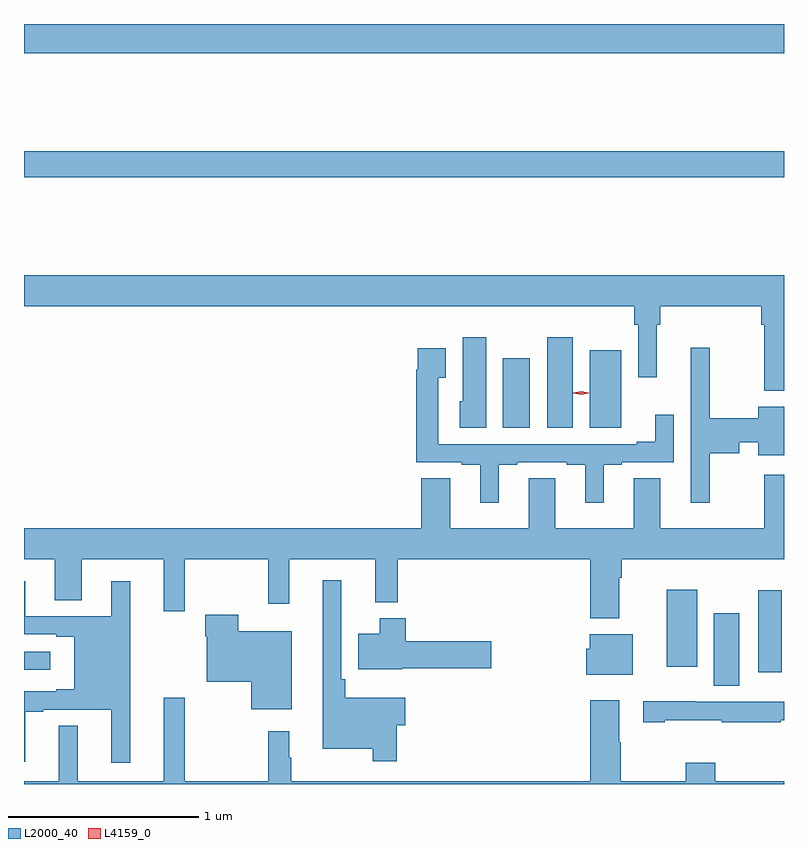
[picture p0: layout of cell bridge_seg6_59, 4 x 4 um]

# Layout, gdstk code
import gdstk
lib = gdstk.Library(unit=1e-6, precision=1e-09)
def R(c, l, rs):  # rectangles x0, y0, x1, y1
    for r in rs: c.add(gdstk.rectangle(r[:2], r[2:], *l))
def P(c, l, *ps):  # polygons
    for p in ps: c.add(gdstk.Polygon(p, *l))
L2000_40 = (2000, 40)
L4159_0 = (4159, 0)

bridge_seg6_59 = lib.new_cell('bridge_seg6_59')
R(bridge_seg6_59, L2000_40, [(867.536,986.632,867.67,987.013), (867.77,986.703,867.892,987.133), (863.905,986.715,864.043,986.811), (867.287,986.73,867.448,987.136), (866.426,987.988,866.566,988.354), (866.66,987.988,866.794,988.465), (866.882,987.988,867.049,988.396), (863.905,989.308,867.905,989.444), (863.905,989.96,867.905,990.114)])
P(bridge_seg6_59, L2000_40, [(867.905,988.792),(863.905,988.792),(863.905,988.628),(867.118,988.628),(867.118,988.532),(867.138,988.532),(867.138,988.254),(867.236,988.254),(867.236,988.532),(867.254,988.532),(867.254,988.628),(867.786,988.628),(867.786,988.532),(867.801,988.532),(867.801,988.184),(867.905,988.184)],
  [(866.338,988.465),(866.213,988.465),(866.213,988.128),(866.198,988.128),(866.198,987.988),(866.338,987.988)],
  [(867.515,987.854),(867.67,987.854),(867.67,987.912),(867.77,987.912),(867.77,987.845),(867.905,987.845),(867.905,988.099),(867.77,988.099),(867.77,988.04),(867.515,988.04),(867.515,988.411),(867.413,988.411),(867.413,988.117),(867.414,988.117),(867.414,987.594),(867.515,987.594)],
  [(866.404,987.795),(866.5,987.795),(866.5,987.807),(866.762,987.807),(866.762,987.795),(866.858,987.795),(866.858,987.594),(866.956,987.594),(866.956,987.795),(867.052,987.795),(867.052,987.807),(867.324,987.807),(867.324,988.057),(867.227,988.057),(867.227,987.916),(867.131,987.916),(867.131,987.903),(866.085,987.903),(866.085,988.252),(866.125,988.252),(866.125,988.408),(865.977,988.408),(865.977,988.295),(865.969,988.295),(865.969,987.807),(866.21,987.807),(866.21,987.795),(866.306,987.795),(866.306,987.594),(866.404,987.594)],
  [(867.037,987.2),(867.05,987.2),(867.05,987.296),(867.905,987.296),(867.905,987.742),(867.801,987.742),(867.801,987.46),(867.253,987.46),(867.253,987.722),(867.113,987.722),(867.113,987.46),(866.701,987.46),(866.701,987.722),(866.561,987.722),(866.561,987.46),(866.149,987.46),(866.149,987.722),(865.997,987.722),(865.997,987.46),(863.905,987.46),(863.905,987.296),(864.068,987.296),(864.068,987.082),(864.208,987.082),(864.208,987.296),(864.641,987.296),(864.641,987.024),(864.751,987.024),(864.751,987.296),(865.191,987.296),(865.191,987.063),(865.301,987.063),(865.301,987.296),(865.754,987.296),(865.754,987.071),(865.871,987.071),(865.871,987.296),(866.885,987.296),(866.885,986.987),(867.037,986.987)],
  [(865.868,986.422),(865.912,986.422),(865.912,986.569),(865.595,986.569),(865.595,986.665),(865.575,986.665),(865.575,987.187),(865.478,987.187),(865.478,986.3),(865.74,986.3),(865.74,986.235),(865.868,986.235)],
  [(864.464,986.608),(864.463,986.608),(864.463,986.894),(864.464,986.894),(864.464,987.181),(864.365,987.181),(864.365,986.997),(863.911,986.997),(863.911,987.181),(863.905,987.181),(863.905,986.901),(864.074,986.901),(864.074,986.889),(864.17,986.889),(864.17,986.614),(864.074,986.614),(864.074,986.601),(863.905,986.601),(863.905,986.232),(863.912,986.232),(863.912,986.493),(864.007,986.493),(864.007,986.505),(864.365,986.505),(864.365,986.226),(864.464,986.226)],
  [(865.315,986.917),(865.032,986.917),(865.032,987.004),(864.859,987.004),(864.859,986.891),(864.866,986.891),(864.866,986.651),(865.1,986.651),(865.1,986.507),(865.315,986.507)],
  [(865.896,986.723),(866.365,986.723),(866.365,986.865),(865.913,986.865),(865.913,986.986),(865.778,986.986),(865.778,986.905),(865.664,986.905),(865.664,986.717),(865.896,986.717)],
  [(867.109,986.902),(866.882,986.902),(866.882,986.826),(866.864,986.826),(866.864,986.69),(867.109,986.69)],
  [(867.905,986.128),(867.543,986.128),(867.543,986.227),(867.388,986.227),(867.388,986.128),(867.045,986.128),(867.045,986.333),(867.037,986.333),(867.037,986.554),(866.885,986.554),(866.885,986.128),(865.312,986.128),(865.312,986.252),(865.3,986.252),(865.3,986.392),(865.191,986.392),(865.191,986.128),(864.751,986.128),(864.751,986.569),(864.641,986.569),(864.641,986.128),(864.188,986.128),(864.188,986.42),(864.089,986.42),(864.089,986.128),(863.905,986.128),(863.905,986.114),(867.905,986.114)],
  [(867.277,986.449),(867.577,986.449),(867.577,986.439),(867.887,986.439),(867.887,986.449),(867.905,986.449),(867.905,986.548),(867.774,986.548),(867.774,986.547),(867.44,986.547),(867.44,986.549),(867.165,986.549),(867.165,986.439),(867.277,986.439)])
P(bridge_seg6_59, L4159_0, [(866.837,988.162),(866.796,988.171),(866.795,988.172),(866.796,988.172),(866.837,988.181),(866.878,988.172),(866.878,988.171),(866.878,988.171)])

lib.write_gds('bridge_seg6_59.gds')
